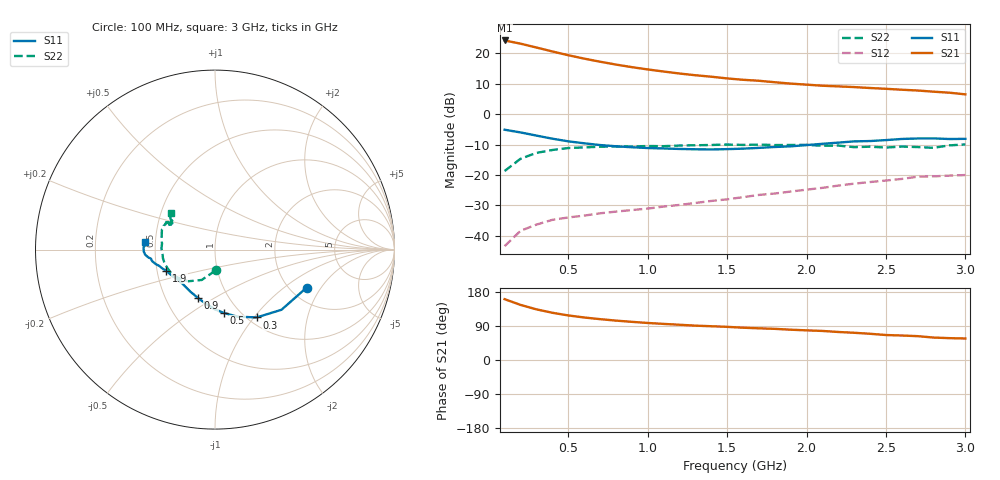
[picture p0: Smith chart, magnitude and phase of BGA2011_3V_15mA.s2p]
! Bias: Vs=Vc=3.00 V; Is=15.0 mA;
#  MHZ  S  MA  R 50
! Freq  S11  S21  S12  S22
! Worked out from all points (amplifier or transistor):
!   30 points, 100 MHz to 3 GHz, reference 50 ohm
!   highest |S21| = 24.2 dB at 100 MHz (marker M1)
!   |S21| within 3 dB of that: start of sweep to 352.8 MHz
!   unconditionally stable (mu >= 1): start of sweep to end of sweep
!   at 600 MHz: K = 2.38, MAG = 19.2 dB, |S12| = -33.4 dB
!   at 1.6 GHz: K = 2.80, MAG = 11.9 dB, |S12| = -27.3 dB
!   at 3 GHz: K = 2.04, MAG = 7.4 dB, |S12| = -20.0 dB
!   S11 on the Smith chart (normalised r, x): 100 MHz: 2.45, -1.49; 300 MHz: 1.10, -1.03; 500 MHz: 0.85, -0.69; 900 MHz: 0.72, -0.42; 1.9 GHz: 0.56, -0.14; 3 GHz: 0.44, +0.04
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100  0.5531 -22.4  16.2 160.6  0.00676 76.7  0.1159 -88.0
200  0.4996 -42.1  14.35 145.4  0.01208 67.5  0.1844 -113.5
300  0.4436 -58.4  12.41 133.7  0.01528 61.7  0.2303 -130.0
400  0.3943 -71.4  10.69 124.7  0.01828 59.6  0.2569 -141.2
500  0.3568 -81.9  9.275 117.7  0.02003 57.8  0.2768 -150.5
600  0.3314 -90.6  8.156 112.2  0.02145 58.3  0.2833 -158.1
700  0.3101 -97.8  7.255 107.8  0.02342 58.6  0.2911 -164.0
800  0.2957 -104.0  6.513 104.0  0.02496 60.9  0.2939 -170.5
900  0.2852 -109.8  5.906 100.7  0.02649 63.0  0.2933 -175.3
1000  0.2769 -114.9  5.415 97.7  0.028 64.7  0.2987 178.8
1100  0.2723 -119.6  5.003 95.3  0.0302 67.5  0.2969 173.4
1200  0.2673 -124.2  4.64 93.0  0.03217 69.0  0.304 169.6
1300  0.2642 -129.0  4.346 90.7  0.03462 71.2  0.3074 164.8
1600  0.2704 -144.2  3.659 85.2  0.04315 75.4  0.3114 157.0
1700  0.2784 -148.0  3.526 83.6  0.04692 76.9  0.3153 155.2
1900  0.2951 -156.6  3.168 80.0  0.05332 77.5  0.3109 152.7
2100  0.3248 -163.9  2.922 76.7  0.06139 78.3  0.3017 150.5
2500  0.3739 -173.3  2.601 65.9  0.08093 74.4  0.2818 150.4
2600  0.3903 -175.9  2.512 64.6  0.08605 74.9  0.2927 149.3
2700  0.3973 -178.5  2.439 62.9  0.09374 74.2  0.287 144.2
2800  0.3986 178.1  2.332 59.2  0.0948 70.0  0.2789 148.4
3000  0.392 173.9  2.108 56.7  0.09967 69.1  0.3173 140.1
